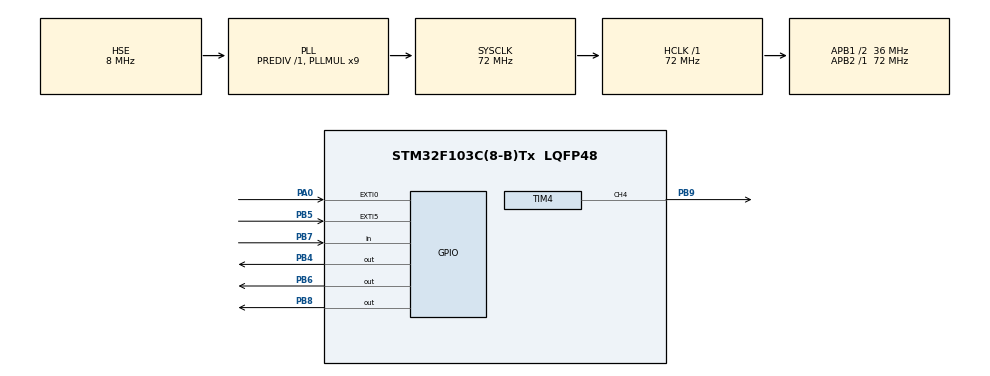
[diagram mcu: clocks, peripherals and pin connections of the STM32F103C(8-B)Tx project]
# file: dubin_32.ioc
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Mcu.Family=STM32F1
Mcu.Name=STM32F103C(8-B)Tx
Mcu.Package=LQFP48
NVIC.EXTI0_IRQn=true\:2\:0\:true\:false\:true\:true\:true\:true
NVIC.EXTI9_5_IRQn=true\:2\:0\:true\:false\:true\:true\:true\:true
NVIC.PriorityGroup=NVIC_PRIORITYGROUP_4
PA0-WKUP.Signal=GPXTI0
PA13.Mode=Serial_Wire
PA13.Signal=SYS_JTMS-SWDIO
PA14.Mode=Serial_Wire
PA14.Signal=SYS_JTCK-SWCLK
PB4.PinState=GPIO_PIN_SET
PB4.Signal=GPIO_Output
PB5.Signal=GPXTI5
PB6.Signal=GPIO_Output
PB7.Signal=GPIO_Input
PB8.PinState=GPIO_PIN_SET
PB8.Signal=GPIO_Output
PB9.Signal=S_TIM4_CH4
PD0-OSC_IN.Mode=HSE-External-Oscillator
PD0-OSC_IN.Signal=RCC_OSC_IN
PD1-OSC_OUT.Mode=HSE-External-Oscillator
PD1-OSC_OUT.Signal=RCC_OSC_OUT
ProjectManager.HeapSize=0x200
ProjectManager.StackSize=0x400
ProjectManager.TargetToolchain=MDK-ARM V5.32
RCC.AHBFreq_Value=72000000
RCC.APB1CLKDivider=RCC_HCLK_DIV2
RCC.APB1Freq_Value=36000000
RCC.APB1TimFreq_Value=72000000
RCC.APB2Freq_Value=72000000
RCC.APB2TimFreq_Value=72000000
RCC.HCLKFreq_Value=72000000
RCC.PLLMUL=RCC_PLL_MUL9
RCC.PLLSourceVirtual=RCC_PLLSOURCE_HSE
RCC.SYSCLKFreq_VALUE=72000000
RCC.SYSCLKSource=RCC_SYSCLKSOURCE_PLLCLK
RCC.USBFreq_Value=72000000
SH.S_TIM4_CH4.0=TIM4_CH4,PWM Generation4 CH4
TIM2.AutoReloadPreload=TIM_AUTORELOAD_PRELOAD_ENABLE
TIM2.Prescaler=71
TIM4.AutoReloadPreload=TIM_AUTORELOAD_PRELOAD_ENABLE
TIM4.Channel-PWM\ Generation4\ CH4=TIM_CHANNEL_4
TIM4.Period=199
TIM4.Prescaler=7199
VP_TIM2_VS_ClockSourceINT.Mode=Internal
VP_TIM4_VS_ClockSourceINT.Mode=Internal
board=custom

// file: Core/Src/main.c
/* USER CODE BEGIN Header */
/**
  ******************************************************************************
  * @file           : main.c
  * @brief          : Main program body
  ******************************************************************************
  * @attention
  *
  * Copyright (c) 2023 STMicroelectronics.
  * All rights reserved.
  *
  * This software is licensed under terms that can be found in the LICENSE file
  * in the root directory of this software component.
  * If no LICENSE file comes with this software, it is provided AS-IS.
  *
  ******************************************************************************
  */
/* USER CODE END Header */
#include "main.h"
#include "tim.h"
#include "gpio.h"

/* USER CODE BEGIN 0 */

int opened = 0;

//使用TIM2来做us级延时函数
void TIM2_Delay_us(uint16_t n_us)
{
	/* 使能定时器2计数 */
	__HAL_TIM_ENABLE(&htim2);
	__HAL_TIM_SetCounter(&htim2, 0);
	while(__HAL_TIM_GetCounter(&htim2) < ((1 * n_us)-1) );
	/* 关闭定时器2计数 */
	__HAL_TIM_DISABLE(&htim2);
}

double getDistance() {
	int count = 0;
	HAL_GPIO_WritePin(GPIOB, GPIO_PIN_6, GPIO_PIN_SET);
	TIM2_Delay_us(20);
	HAL_GPIO_WritePin(GPIOB, GPIO_PIN_6, GPIO_PIN_RESET);
	while(HAL_GPIO_ReadPin(GPIOB, GPIO_PIN_7) == GPIO_PIN_RESET);
	HAL_TIM_Base_Start(&htim2);
	__HAL_TIM_SetCounter(&htim2,0);
	while(HAL_GPIO_ReadPin(GPIOB, GPIO_PIN_7) == GPIO_PIN_SET);
	HAL_TIM_Base_Stop(&htim2);
	count = __HAL_TIM_GetCounter(&htim2);
	return 340 * 0.000001 * count * 100 / 2;
}

void beep() {
	HAL_GPIO_WritePin(GPIOB, GPIO_PIN_4, GPIO_PIN_RESET);
	HAL_Delay(100);
	HAL_GPIO_WritePin(GPIOB, GPIO_PIN_4, GPIO_PIN_SET);
}

/* sg90 -----------------------------------------------*/

void initSG90() {
	HAL_TIM_PWM_Start(&htim4,TIM_CHANNEL_4);
	__HAL_TIM_SetCompare(&htim4, TIM_CHANNEL_4, 5);
}

void openDusbin() {
	__HAL_TIM_SetCompare(&htim4, TIM_CHANNEL_4, 15);
	HAL_Delay(2000);
}

void closeDusbin() {
	__HAL_TIM_SetCompare(&htim4, TIM_CHANNEL_4, 5);
	HAL_Delay(150);
}

/* led -----------------------------------------------*/
void openStausLight() {
	HAL_GPIO_WritePin(GPIOB, GPIO_PIN_8, GPIO_PIN_RESET);
}

void closeStausLight() {
	HAL_GPIO_WritePin(GPIOB, GPIO_PIN_8, GPIO_PIN_SET);
}

void tryToOpenDusbin() {
	if(opened) {
		HAL_Delay(2000);
		return;
	}
	opened = 1;
	beep();
	openDusbin();
}

void tryToCloseBusbin() {
	opened = 0;
	closeDusbin();
}

/* key exti -----------------------------------------------*/
void HAL_GPIO_EXTI_Callback(uint16_t GPIO_Pin) {
	if(GPIO_Pin == GPIO_PIN_0 || GPIO_Pin == GPIO_PIN_5) {
		if(HAL_GPIO_ReadPin(GPIOA, GPIO_Pin) == GPIO_PIN_SET
			|| HAL_GPIO_ReadPin(GPIOB, GPIO_Pin) == GPIO_PIN_RESET
		) {
			openStausLight();
			tryToOpenDusbin();
		}
	}
}

/* USER CODE END 0 */

void SystemClock_Config(void);

int main(void)
{
  double distance;

  /* MCU Configuration--------------------------------------------------------*/

  /* Reset of all peripherals, Initializes the Flash interface and the Systick. */
  HAL_Init();

  /* Configure the system clock */
  SystemClock_Config();

  /* Initialize all configured peripherals */
  MX_GPIO_Init();
  MX_TIM4_Init();
  MX_TIM2_Init();
  initSG90();

	HAL_NVIC_SetPriority(SysTick_IRQn,0,0);

  while (1)
  {
    distance = getDistance();
		if(distance < 10) {
			openStausLight();
			tryToOpenDusbin();
		} else {
			closeStausLight();
			tryToCloseBusbin();
		}
		HAL_Delay(100);
  }
  /* USER CODE END 3 */
}

void SystemClock_Config(void)
{
  RCC_OscInitTypeDef RCC_OscInitStruct = {0};
  RCC_ClkInitTypeDef RCC_ClkInitStruct = {0};

  /** Initializes the RCC Oscillators according to the specified parameters
  * in the RCC_OscInitTypeDef structure.
  */
  RCC_OscInitStruct.OscillatorType = RCC_OSCILLATORTYPE_HSE;
  RCC_OscInitStruct.HSEState = RCC_HSE_ON;
  RCC_OscInitStruct.HSEPredivValue = RCC_HSE_PREDIV_DIV1;
  RCC_OscInitStruct.HSIState = RCC_HSI_ON;
  RCC_OscInitStruct.PLL.PLLState = RCC_PLL_ON;
  RCC_OscInitStruct.PLL.PLLSource = RCC_PLLSOURCE_HSE;
  RCC_OscInitStruct.PLL.PLLMUL = RCC_PLL_MUL9;
  if (HAL_RCC_OscConfig(&RCC_OscInitStruct) != HAL_OK)
  {
    Error_Handler();
  }

  /** Initializes the CPU, AHB and APB buses clocks
  */
  RCC_ClkInitStruct.ClockType = RCC_CLOCKTYPE_HCLK|RCC_CLOCKTYPE_SYSCLK
                              |RCC_CLOCKTYPE_PCLK1|RCC_CLOCKTYPE_PCLK2;
  RCC_ClkInitStruct.SYSCLKSource = RCC_SYSCLKSOURCE_PLLCLK;
  RCC_ClkInitStruct.AHBCLKDivider = RCC_SYSCLK_DIV1;
  RCC_ClkInitStruct.APB1CLKDivider = RCC_HCLK_DIV2;
  RCC_ClkInitStruct.APB2CLKDivider = RCC_HCLK_DIV1;

  if (HAL_RCC_ClockConfig(&RCC_ClkInitStruct, FLASH_LATENCY_2) != HAL_OK)
  {
    Error_Handler();
  }
}

void Error_Handler(void)
{
  __disable_irq();
  while (1)
  {
  }
}
